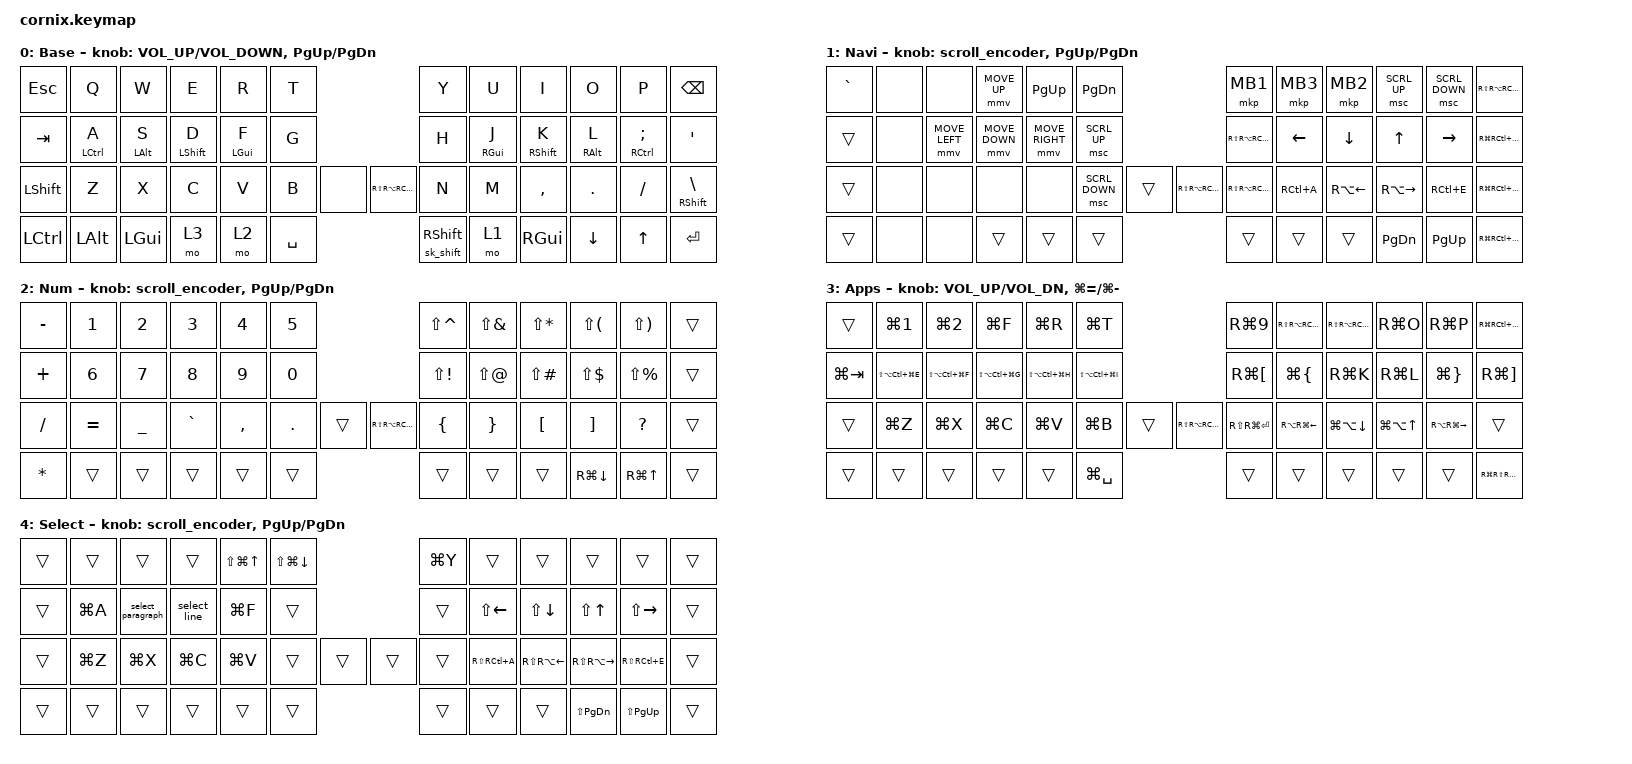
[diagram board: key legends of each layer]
/*
 * Copyright (c) 2020 The ZMK Contributors
 *
 * SPDX-License-Identifier: MIT
 */

#include "includes/cornix54.h"

#define BASE 0
#define WIN 1
#define LOWER 2
#define RAISE 3
#define ADJUST 4
#define NAVI   5
#define NUM    6
#define DEBUG  7
#define APPS   8
#define SELECTION 9
#define KEYS_L LT0 LT1 LT2 LT3 LT4 LT5 LM0 LM1 LM2 LM3 LM4 LM5 LB0 LB1 LB2 LB3 LB4 LB5  // left hand
#define KEYS_R RT0 RT1 RT2 RT3 RT4 RT5 RM0 RM1 RM2 RM3 RM4 RM5 RB0 RB1 RB2 RB3 RB4 RB5  // right hand
#define THUMBS LH1 LH0 RH0 RH1
#define KEYS_T LH1 LH0 RH0 RH1
#define ZMK_POINTING_DEFAULT_SCRL_VAL 18

#include <behaviors.dtsi>
#include <dt-bindings/zmk/bt.h>
#include <dt-bindings/zmk/keys.h>
#include <dt-bindings/zmk/pointing.h>

/ {
    // Activate ADJUST layer by pressing raise and lower

    behaviors {
        scroll_encoder: scroll_encoder {
            compatible = "zmk,behavior-sensor-rotate";
            #sensor-binding-cells = <0>;
            bindings = <&msc SCRL_DOWN>, <&msc SCRL_UP>;

            tap-ms = <20>;
        };

        // Timeless home row mods (urob)
        // https://github.com/urob/zmk-config/tree/main#timeless-homerow-mods

        hml: hml {
            compatible = "zmk,behavior-hold-tap";
            #binding-cells = <2>;
            flavor = "balanced";
            tapping-term-ms = <280>;
            quick-tap-ms = <175>;
            require-prior-idle-ms = <150>;
            bindings = <&kp>, <&kp>;

            hold-trigger-key-positions = <KEYS_R THUMBS>;
            hold-trigger-on-release;
        };

        hmr: hmr {
            compatible = "zmk,behavior-hold-tap";
            #binding-cells = <2>;
            flavor = "balanced";
            tapping-term-ms = <280>;
            quick-tap-ms = <175>;
            require-prior-idle-ms = <150>;
            bindings = <&kp>, <&kp>;

            hold-trigger-key-positions = <KEYS_L THUMBS>;
            hold-trigger-on-release;
        };

        sk_shift: sk_shift {
            compatible = "zmk,behavior-sticky-key";
            #binding-cells = <1>;
            bindings = <&kp>;
            release-after-ms = <1000>;
            quick-release;
        };
    };

    macros {
        select_line: select_line {
            compatible = "zmk,behavior-macro";
            #binding-cells = <0>;
            bindings =
                <&macro_press>,
                <&kp LCTRL>,
                <&macro_tap>,
                <&kp A>,
                <&macro_release>,
                <&kp LCTRL>,
                <&macro_press>,
                <&kp LCTRL &kp LSHFT>,
                <&macro_tap>,
                <&kp E>,
                <&macro_release>,
                <&kp LCTRL &kp LSHFT>;
        };

        select_paragraph: select_paragraph {
            compatible = "zmk,behavior-macro";
            #binding-cells = <0>;
            bindings =
                <&macro_press>,
                <&kp LCTRL>,
                <&macro_tap>,
                <&kp A>,
                <&macro_release>,
                <&kp LCTRL>,
                <&macro_press>,
                <&kp LSHFT>,
                <&macro_tap>,
                <&kp DOWN>,
                <&macro_tap>,
                <&kp DOWN>,
                <&macro_tap>,
                <&kp DOWN>,
                <&macro_release>,
                <&kp LSHFT>;
        };
    };

    conditional_layers { compatible = "zmk,conditional-layers"; };

    combos {
        compatible = "zmk,combos";

        cb_enter {
            bindings = <&kp RET>;
            key-positions = <21 19>;
            layers = <0>;
            timeout-ms = <50>;
            require-prior-idle-ms = <150>;
        };

        cb_backspace {
            bindings = <&kp BACKSPACE>;
            key-positions = <16 15>;
            timeout-ms = <50>;
            require-prior-idle-ms = <150>;
        };

        cb_backword {
            bindings = <&kp LA(BACKSPACE)>;
            key-positions = <15 14>;
            timeout-ms = <50>;
            require-prior-idle-ms = <150>;
        };

        cb_delete {
            bindings = <&kp DELETE>;
            key-positions = <14 16>;
            timeout-ms = <50>;
            require-prior-idle-ms = <150>;
        };

        cb_minus {
            bindings = <&kp MINUS>;
            key-positions = <18 19>;
            timeout-ms = <50>;
            require-prior-idle-ms = <150>;
        };

        cp_underscore {
            bindings = <&kp UNDERSCORE>;
            key-positions = <32 33>;
            timeout-ms = <50>;
        };

        cb_cut {
            bindings = <&kp LG(X)>;
            key-positions = <25 26>;
            timeout-ms = <50>;
        };

        cb_copy {
            bindings = <&kp LG(C)>;
            key-positions = <26 27>;
            timeout-ms = <50>;
        };

        cb_paste {
            bindings = <&kp LG(V)>;
            key-positions = <27 28>;
            timeout-ms = <50>;
        };

        cb_paste_list {
            bindings = <&kp LS(LG(V))>;
            key-positions = <28 29>;
            timeout-ms = <50>;
        };

        cb_cmd_w {
            bindings = <&kp LG(W)>;
            key-positions = <1 2 3>;
            timeout-ms = <50>;
            require-prior-idle-ms = <300>;
        };

        cb_cmd_a {
            bindings = <&kp LG(A)>;
            key-positions = <13 16>;
            timeout-ms = <50>;
            require-prior-idle-ms = <150>;
        };

        cb_mouse_left_click_2 {
            bindings = <&mkp MB1>;
            key-positions = <16 17>;
            timeout-ms = <50>;
            require-prior-idle-ms = <150>;
        };

        cb_cmd_t {
            bindings = <&kp LG(T)>;
            key-positions = <5 4>;
            timeout-ms = <50>;
            require-prior-idle-ms = <900>;
        };

        cb_caps_word {
            bindings = <&caps_word>;
            key-positions = <16 19>;
            timeout-ms = <50>;
            require-prior-idle-ms = <150>;
        };

        cb_bt_0 {
            bindings = <&bt BT_SEL 0>;
            key-positions = <24 12>;
            require-prior-idle-ms = <1000>;
            timeout-ms = <50>;
        };

        cb_bt_1 {
            bindings = <&bt BT_SEL 1>;
            key-positions = <38 24>;
            require-prior-idle-ms = <1000>;
            timeout-ms = <50>;
        };

        cb_grave {
            bindings = <&kp GRAVE>;
            key-positions = <0 1>;
            timeout-ms = <50>;
            require-prior-idle-ms = <300>;
        };

        cb_undo {
            bindings = <&kp LG(Z)>;
            key-positions = <25 28>;
            timeout-ms = <50>;
        };

        cb_delete_word {
            bindings = <&kp LA(DELETE)>;
            key-positions = <16 15 14>;
            timeout-ms = <50>;
            require-prior-idle-ms = <150>;
        };

        cb_mouse_left_click {
            bindings = <&mkp LCLK>;
            key-positions = <6 7>;
            require-prior-idle-ms = <500>;
            timeout-ms = <50>;
        };

        cb_mouse_middle_click {
            bindings = <&mkp MCLK>;
            key-positions = <6 8>;
            require-prior-idle-ms = <500>;
            timeout-ms = <50>;
        };

        cb_bluetooth_clear_profiles {
            bindings = <&bt BT_CLR_ALL>;
            key-positions = <11 23 37 49>;
            require-prior-idle-ms = <1000>;
            timeout-ms = <50>;
        };

        cb_screenshot {
            bindings = <&kp LS(LC(LG(NUMBER_4)))>;
            key-positions = <5 4 3>;
            require-prior-idle-ms = <300>;
        };

        cb_left_enter {
            bindings = <&kp ENTER>;
            key-positions = <2 3 4>;
        };

        question_mark {
            bindings = <&kp QUESTION>;
            key-positions = <22 21>;
        };

        left_bracket {
            bindings = <&kp LEFT_BRACKET>;
            key-positions = <34 35>;
        };

        right_bracket {
            bindings = <&kp RIGHT_BRACKET>;
            key-positions = <35 36>;
        };

        left_par {
            bindings = <&kp LEFT_PARENTHESIS>;
            key-positions = <8 9>;
        };

        right_par {
            bindings = <&kp RIGHT_PARENTHESIS>;
            key-positions = <9 10>;
        };

        cmd_w {
            bindings = <&kp LG(W)>;
            key-positions = <1 2 3>;
        };

        colon {
            bindings = <&kp COLON>;
            key-positions = <20 21>;
        };
    };

    keymap {
        compatible = "zmk,keymap";

        default_layer {
            display-name = "Base";

            // ------------------------------------------------------------------------------------------------------------
            // |   `   |  1  |  2  |  3   |  4   |  5   |                   |  6   |  7    |  8    |  9   |   0   |       |
            // |  ESC  |  Q  |  W  |  E   |  R   |  T   |                   |  Y   |  U    |  I    |  O   |   P   | BKSPC |
            // |  TAB  |  A  |  S  |  D   |  F   |  G   |                   |  H   |  J    |  K    |  L   |   ;   |   '   |
            // | SHIFT |  Z  |  X  |  C   |  V   |  B   |  MUTE  |  |       |  N   |  M    |  ,    |  .   |   /   | SHIFT |
            //               | GUI | ALT  | CTRL | LOWER|  ENTER |  | SPACE | RAISE| CTRL  | ALT   | GUI  |

            bindings = <
&kp ESCAPE        &kp Q         &kp W         &kp E         &kp R        &kp T                                    &kp Y                  &kp U        &kp I          &kp O           &kp P            &kp BACKSPACE
&kp TAB           &hml LCTRL A  &hml LALT S   &hml LSHFT D  &hml LGUI F  &kp G                                    &kp H                  &hmr RGUI J  &hmr RSHFT K   &hmr RALT L     &hmr RCTRL SEMI  &kp SINGLE_QUOTE
&kp LEFT_SHIFT    &kp Z         &kp X         &kp C         &kp V        &kp B      &none  &kp RS(RA(RC(RG(W))))  &kp N                  &kp M        &kp COMMA      &kp DOT         &kp SLASH        &mt RIGHT_SHIFT BACKSLASH
&kp LEFT_CONTROL  &kp LEFT_ALT  &kp LEFT_GUI  &mo 3         &mo 2        &kp SPACE                                &sk_shift RIGHT_SHIFT  &mo 1        &kp RIGHT_GUI  &kp DOWN_ARROW  &kp UP_ARROW     &kp ENTER
            >;

            sensor-bindings =
                <&inc_dec_kp C_VOLUME_UP C_VOLUME_DOWN>,
                <&inc_dec_kp PG_UP PG_DN>;
        };

        Navi_layer {
            display-name = "Navi";
            bindings = <
&kp GRAVE  &none  &none           &mmv MOVE_UP    &kp PAGE_UP      &kp PAGE_DOWN                                  &mkp MB1                        &mkp MB3        &mkp MB2            &msc SCRL_UP         &msc SCRL_DOWN   &kp RS(RA(RC(RG(A))))
&trans     &none  &mmv MOVE_LEFT  &mmv MOVE_DOWN  &mmv MOVE_RIGHT  &msc SCRL_UP                                   &kp RS(RA(RC(RG(ENTER))))       &kp LEFT_ARROW  &kp DOWN_ARROW      &kp UP_ARROW         &kp RIGHT_ARROW  &kp RG(RC(RA(RS(B))))
&trans     &none  &none           &none           &none            &msc SCRL_DOWN  &trans  &kp RS(RA(RC(RG(X))))  &kp RS(RA(RC(RG(LEFT_ARROW))))  &kp RC(A)       &kp RA(LEFT_ARROW)  &kp RA(RIGHT_ARROW)  &kp RC(E)        &kp RG(RC(RA(RS(C))))
&trans     &none  &none           &trans          &trans           &trans                                         &trans                          &trans          &trans              &kp PAGE_DOWN        &kp PAGE_UP      &kp RG(RC(RA(RS(D))))
            >;

            sensor-bindings = <&scroll_encoder &inc_dec_kp PG_UP PG_DN>;
        };

        Num {
            bindings = <
&kp MINUS  &kp N1     &kp N2          &kp N3     &kp N4     &kp N5                                  &kp LS(CARET)   &kp LS(AMPS)     &kp LS(STAR)   &kp LS(LPAR)  &kp LS(RPAR)      &trans
&kp PLUS   &kp N6     &kp N7          &kp N8     &kp N9     &kp N0                                  &kp LS(EXCL)    &kp LS(AT)       &kp LS(POUND)  &kp LS(DLLR)  &kp LS(PRCNT)     &trans
&kp FSLH   &kp EQUAL  &kp UNDERSCORE  &kp GRAVE  &kp COMMA  &kp DOT  &trans  &kp RS(RA(RC(RG(Y))))  &kp LEFT_BRACE  &kp RIGHT_BRACE  &kp LBKT       &kp RBKT      &kp QUESTION      &trans
&kp STAR   &trans     &trans          &trans     &trans     &trans                                  &trans          &trans           &trans         &kp RG(DOWN)  &kp RG(UP_ARROW)  &trans
            >;

            sensor-bindings = <&scroll_encoder &inc_dec_kp PG_UP PG_DN>;
        };

        Apps_layer {
            display-name = "Apps";
            bindings = <
&trans       &kp LG(NUMBER_1)       &kp LG(NUMBER_2)       &kp LG(F)              &kp LG(R)              &kp LG(T)                                             &kp RG(NUMBER_9)      &kp RS(RA(RC(RG(J))))  &kp RS(RA(RC(RG(K))))   &kp RG(O)             &kp RG(P)            &kp RG(RC(RA(RS(L))))
&kp LG(TAB)  &kp LS(LA(LC(LG(E))))  &kp LS(LA(LC(LG(F))))  &kp LS(LA(LC(LG(G))))  &kp LS(LA(LC(LG(H))))  &kp LS(LA(LC(LG(I))))                                 &kp RG(LEFT_BRACKET)  &kp LG(LEFT_BRACE)     &kp RG(K)               &kp RG(L)             &kp LG(RIGHT_BRACE)  &kp RG(RIGHT_BRACKET)
&trans       &kp LG(Z)              &kp LG(X)              &kp LG(C)              &kp LG(V)              &kp LG(B)              &trans  &kp RS(RA(RC(RG(Z))))  &kp RS(RG(ENTER))     &kp RA(RG(LEFT))       &kp LG(LA(DOWN_ARROW))  &kp LG(LA(UP_ARROW))  &kp RA(RG(RIGHT))    &trans
&trans       &trans                 &trans                 &trans                 &trans                 &kp LG(SPACE)                                         &trans                &trans                 &trans                  &trans                &trans               &kp RG(RS(RA(RC(M))))
            >;

            sensor-bindings = <&inc_dec_kp C_VOL_UP C_VOL_DN &inc_dec_kp LG(EQUAL) LG(MINUS)>;
        };

        Selection_layer {
            display-name = "Select";
            bindings = <
&trans  &trans     &trans             &trans        &kp LS(LG(UP_ARROW))  &kp LS(LG(DOWN_ARROW))                  &kp LG(Y)  &trans              &trans                  &trans                   &trans               &trans
&trans  &kp LG(A)  &select_paragraph  &select_line  &kp LG(F)             &trans                                  &trans     &kp LS(LEFT_ARROW)  &kp LS(DOWN_ARROW)      &kp LS(UP_ARROW)         &kp LS(RIGHT_ARROW)  &trans
&trans  &kp LG(Z)  &kp LG(X)          &kp LG(C)     &kp LG(V)             &trans                  &trans  &trans  &trans     &kp RS(RC(A))       &kp RS(RA(LEFT_ARROW))  &kp RS(RA(RIGHT_ARROW))  &kp RS(RC(E))        &trans
&trans  &trans     &trans             &trans        &trans                &trans                                  &trans     &trans              &trans                  &kp LS(PAGE_DOWN)        &kp LS(PAGE_UP)      &trans
            >;

            sensor-bindings = <&scroll_encoder &inc_dec_kp PG_UP PG_DN>;
        };
    };
};
